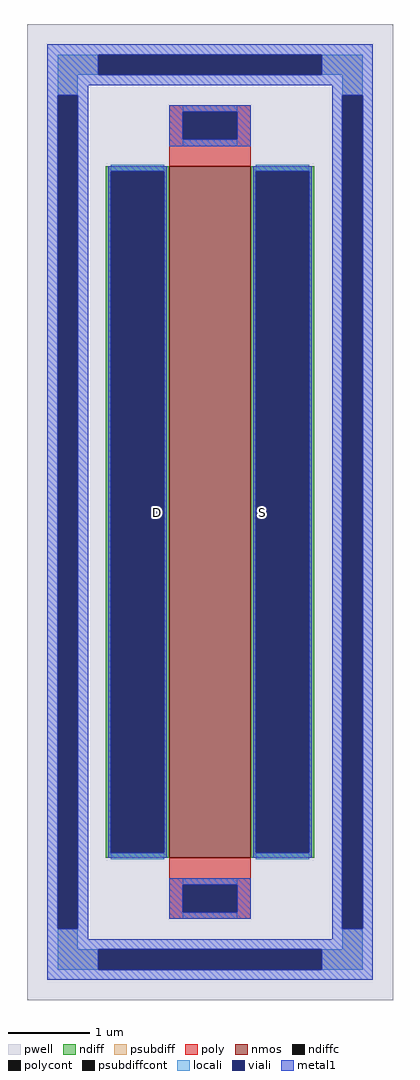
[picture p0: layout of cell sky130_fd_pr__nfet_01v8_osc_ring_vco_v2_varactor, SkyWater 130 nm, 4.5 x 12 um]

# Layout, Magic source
magic
tech sky130A
magscale 1 2
<< pwell >>
rect -446 -1210 454 1190
<< nmos >>
rect -96 -860 104 840
<< ndiff >>
rect -252 828 -96 840
rect -252 -848 -240 828
rect -108 -848 -96 828
rect -252 -860 -96 -848
rect 104 828 260 840
rect 104 -848 116 828
rect 248 -848 260 828
rect 104 -860 260 -848
<< ndiffc >>
rect -240 -848 -108 828
rect 116 -848 248 828
<< psubdiff >>
rect -371 1065 -271 1115
rect 279 1065 379 1115
rect -371 1015 -321 1065
rect 329 1015 379 1065
rect -371 -1085 -321 -1035
rect 329 -1085 379 -1035
rect -371 -1135 -271 -1085
rect 279 -1135 379 -1085
<< psubdiffcont >>
rect -271 1065 279 1115
rect -371 -1035 -321 1015
rect 329 -1035 379 1015
rect -271 -1135 279 -1085
<< poly >>
rect -96 974 104 990
rect -96 906 -63 974
rect 71 906 104 974
rect -96 840 104 906
rect -96 -926 104 -860
rect -96 -994 -63 -926
rect 71 -994 104 -926
rect -96 -1010 104 -994
<< polycont >>
rect -63 906 71 974
rect -63 -994 71 -926
<< locali >>
rect -371 1065 -271 1115
rect 279 1065 379 1115
rect -371 1015 -321 1065
rect 329 1015 379 1065
rect -63 974 71 990
rect -63 890 71 906
rect -240 828 -108 844
rect -240 -864 -108 -848
rect 116 828 248 844
rect 116 -864 248 -848
rect -63 -926 71 -910
rect -63 -1010 71 -994
rect -371 -1085 -321 -1035
rect 329 -1085 379 -1035
rect -371 -1135 -271 -1085
rect 279 -1135 379 -1085
<< viali >>
rect -271 1065 279 1115
rect -371 -1035 -321 1015
rect -63 906 71 974
rect -240 -848 -108 828
rect 116 -848 248 828
rect -63 -994 71 -926
rect 329 -1035 379 1015
rect -271 -1135 279 -1085
<< metal1 >>
rect -396 1115 404 1140
rect -396 1065 -271 1115
rect 279 1065 404 1115
rect -396 1040 404 1065
rect -396 1015 -296 1040
rect -396 -1035 -371 1015
rect -321 -1035 -296 1015
rect 304 1015 404 1040
rect -96 974 104 990
rect -96 906 -63 974
rect 71 906 104 974
rect -96 890 104 906
rect -246 828 -102 840
rect -246 -848 -240 828
rect -108 -848 -102 828
rect -246 -860 -102 -848
rect 110 828 254 840
rect 110 -848 116 828
rect 248 -848 254 828
rect 110 -860 254 -848
rect -96 -926 104 -910
rect -96 -994 -63 -926
rect 71 -994 104 -926
rect -96 -1010 104 -994
rect -396 -1060 -296 -1035
rect 304 -1035 329 1015
rect 379 -1035 404 1015
rect 304 -1060 404 -1035
rect -396 -1085 404 -1060
rect -396 -1135 -271 -1085
rect 279 -1135 404 -1085
rect -396 -1160 404 -1135
<< labels >>
rlabel ndiffc -125 -10 -125 -10 0 D
port 10 nsew
rlabel ndiffc 133 -10 133 -10 0 S
port 11 nsew
<< end >>
